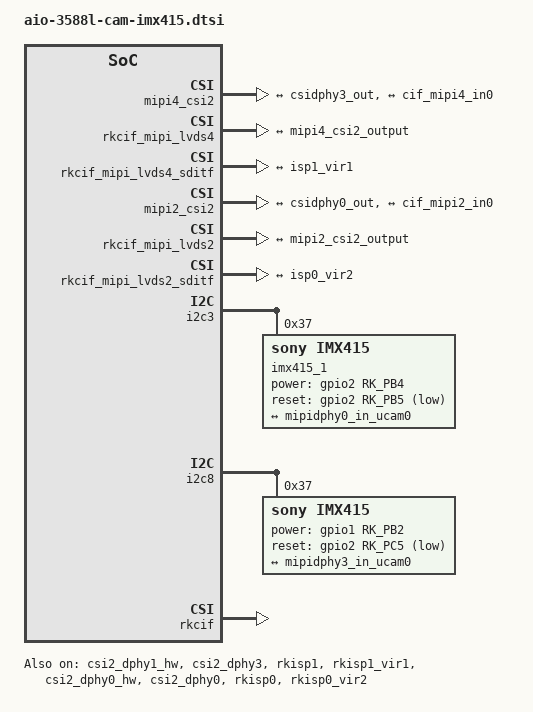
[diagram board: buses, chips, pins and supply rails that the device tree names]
// SPDX-License-Identifier: (GPL-2.0+ OR MIT)
/*
 * Copyright (c) 2021 Rockchip Electronics Co., Ltd.
 *
 */

/ {
	cam_ircut0: cam_ircut {
		status = "disabled";
		compatible = "rockchip,ircut";
		ircut-open-gpios = <&gpio4 RK_PA6 GPIO_ACTIVE_HIGH>;
		ircut-close-gpios  = <&gpio4 RK_PA7 GPIO_ACTIVE_HIGH>;
		rockchip,camera-module-index = <0>;
		rockchip,camera-module-facing = "back";
	};

	vcc_mipidphy0: vcc-mipidcphy0-regulator {
		status = "disabled";
		compatible = "regulator-fixed";
		gpio = <&gpio2 RK_PC4 GPIO_ACTIVE_HIGH>;
		pinctrl-names = "default";
		pinctrl-0 = <&mipidphy0_pwr>;
		regulator-name = "vcc_mipidphy0";
		enable-active-high;
	};
	vcc_mipidphy1: vcc-mipidcphy0-regulator {
		status = "disabled";
		compatible = "regulator-fixed";
		gpio = <&gpio1 RK_PB2 GPIO_ACTIVE_HIGH>;
		pinctrl-names = "default";
		pinctrl-0 = <&mipidphy1_pwr>;
		regulator-name = "vcc_mipidphy1";
		enable-active-high;
	};
};

&csi2_dphy1_hw {
	status = "okay";
};

&csi2_dphy3 {
	status = "okay";
#ifdef FF_COMPATIBLE
		firefly-compatible;
#endif
	ports {
		#address-cells = <1>;
		#size-cells = <0>;
		port@0 {
			reg = <0>;
			#address-cells = <1>;
			#size-cells = <0>;

			mipidphy3_in_ucam0: endpoint@1 {
				reg = <1>;
				remote-endpoint = <&imx415_out0>;
				data-lanes = <1 2 3 4>;
			};
		};
		port@1 {
			reg = <1>;
			#address-cells = <1>;
			#size-cells = <0>;

			csidphy3_out: endpoint@0 {
				reg = <0>;
				remote-endpoint = <&mipi4_csi2_input>;
			};
		};
	};
};

&mipi4_csi2 {
	status = "okay";

#ifdef FF_COMPATIBLE
		firefly-compatible;
#endif
	ports {
		#address-cells = <1>;
		#size-cells = <0>;

		port@0 {
			reg = <0>;
			#address-cells = <1>;
			#size-cells = <0>;

			mipi4_csi2_input: endpoint@1 {
				reg = <1>;
				remote-endpoint = <&csidphy3_out>;
			};
		};

		port@1 {
			reg = <1>;
			#address-cells = <1>;
			#size-cells = <0>;

			mipi4_csi2_output: endpoint@0 {
				reg = <0>;
				remote-endpoint = <&cif_mipi4_in0>;
			};
		};
	};
};

&rkcif_mipi_lvds4 {
        status = "okay";

        port {
                cif_mipi4_in0: endpoint {
                        remote-endpoint = <&mipi4_csi2_output>;
                };
        };
};

&rkcif_mipi_lvds4_sditf {
	status = "okay";

	port {
		mipi_lvds4_sditf: endpoint {
			remote-endpoint = <&isp1_vir1>;
		};
	};
};

&rkisp1 {
	status = "okay";
};

&isp1_mmu {
	status = "okay";
};

&rkisp1_vir1 {
	status = "okay";

	port {
		#address-cells = <1>;
		#size-cells = <0>;

		isp1_vir1: endpoint@0 {
			reg = <0>;
			remote-endpoint = <&mipi_lvds4_sditf>;
		};
	};
};

&csi2_dphy0_hw {
	status = "okay";
}; 

&csi2_dphy0 {
	status = "okay";

#ifdef FF_COMPATIBLE
		firefly-compatible;
#endif
	ports {
		#address-cells = <1>;
		#size-cells = <0>;
		port@0 {
			reg = <0>;
			#address-cells = <1>;
			#size-cells = <0>;

			mipidphy0_in_ucam0: endpoint@1 {
				reg = <1>;
				remote-endpoint = <&imx415_out1>;
				data-lanes = <1 2 3 4>;
			};
		};
		port@1 {
			reg = <1>;
			#address-cells = <1>;
			#size-cells = <0>;

			csidphy0_out: endpoint@0 {
				reg = <0>;
				remote-endpoint = <&mipi2_csi2_input>;
			};
		};
	};
};

&mipi2_csi2 {
        status = "okay";

#ifdef FF_COMPATIBLE
		firefly-compatible;
#endif
        ports {
                #address-cells = <1>;
                #size-cells = <0>;

                port@0 {
                        reg = <0>;
                        #address-cells = <1>;
                        #size-cells = <0>;

                        mipi2_csi2_input: endpoint@1 {
                                reg = <1>;
                                remote-endpoint = <&csidphy0_out>;
                        };
                };

                port@1 {
                        reg = <1>;
                        #address-cells = <1>;
                        #size-cells = <0>;

                        mipi2_csi2_output: endpoint@0 {
                                reg = <0>;
                                remote-endpoint = <&cif_mipi2_in0>;
                        };
                };
        };
};

&rkcif_mipi_lvds2 {
        status = "okay";

        port {
                cif_mipi2_in0: endpoint {
                        remote-endpoint = <&mipi2_csi2_output>;
                };
        };
};

&rkcif_mipi_lvds2_sditf {
	status = "okay";

	port {
		mipi_lvds2_sditf: endpoint {
			remote-endpoint = <&isp0_vir2>;
		};
	};
};

&rkisp0 {
	status = "okay";
};

&isp0_mmu {
	status = "okay";
};

&rkisp0_vir2 {
	status = "okay";

	port {
		#address-cells = <1>;
		#size-cells = <0>;

		isp0_vir2: endpoint@0 {
			reg = <0>;
			remote-endpoint = <&mipi_lvds2_sditf>;
		};
	};
};

&i2c3 {
        status = "okay";
        pinctrl-names = "default";
	pinctrl-0 = <&i2c3m0_xfer>;
	
	imx415_1: imx415-1@37{
               compatible = "sony,imx415";
               reg = <0x37>;
               clocks = <&cru CLK_MIPI_CAMARAOUT_M1>;
               clock-names = "xvclk";
               pinctrl-names = "default";
               pinctrl-0 = <&mipim0_camera1_clk>;
               power-domains = <&power RK3588_PD_VI>;
               
               power-gpios = <&gpio2 RK_PB4 GPIO_ACTIVE_HIGH>;
               reset-gpios = <&gpio2 RK_PB5 GPIO_ACTIVE_LOW>;
               //pwdn-gpios = <&gpio2 RK_PB4 GPIO_ACTIVE_HIGH>;

	       #define FF_COMPATIBLE
               //avdd-supply = <&vcc_mipidcphy0>;
               firefly,clkout-enabled-index = <0>;
               rockchip,camera-module-index = <1>;
               rockchip,camera-module-facing = "back";
               rockchip,camera-module-name = "CMK-OT2022-PX1";
               rockchip,camera-module-lens-name = "IR0147-50IRC-8M-F20";
               port {
                        imx415_out1: endpoint {
                               remote-endpoint = <&mipidphy0_in_ucam0>;
                               data-lanes = <1 2 3 4>;
                       };
               };
       };

};

&i2c8 {
        status = "okay";
        pinctrl-names = "default";
	pinctrl-0 = <&i2c8m4_xfer>;
 
        imx415: imx415@37{
               compatible = "sony,imx415";
               reg = <0x37>;
               clocks = <&cru CLK_MIPI_CAMARAOUT_M3>;
               clock-names = "xvclk";
               pinctrl-names = "default";
               pinctrl-0 = <&mipim0_camera3_clk>;
               power-domains = <&power RK3588_PD_VI>;
               
	       power-gpios = <&gpio1 RK_PB2 GPIO_ACTIVE_HIGH>;
               reset-gpios = <&gpio2 RK_PC5 GPIO_ACTIVE_LOW>;
               //pwdn-gpios = <&gpio1 RK_PB5 GPIO_ACTIVE_HIGH>;

	       #define FF_COMPATIBLE
               //avdd-supply = <&vcc_mipidcphy0>;
               firefly,clkout-enabled-index = <0>;
               rockchip,camera-module-index = <0>;
               rockchip,camera-module-facing = "back";
               rockchip,camera-module-name = "CMK-OT2022-PX1";
               rockchip,camera-module-lens-name = "IR0147-50IRC-8M-F20";
               port {
                        imx415_out0: endpoint {
                               remote-endpoint = <&mipidphy3_in_ucam0>;
                               data-lanes = <1 2 3 4>;
                       };
               };
       };

};


&pinctrl {
	cam {
		mipidphy0_pwr: mipidphy0-pwr {
			rockchip,pins =
				/* camera power en */
				<2 RK_PC4 RK_FUNC_GPIO &pcfg_pull_none>;
		};
	};
	cam {
		mipidphy1_pwr: mipidphy1-pwr {
			rockchip,pins =
				/* camera power en */
				<1 RK_PB2 RK_FUNC_GPIO &pcfg_pull_none>;
		};
	};
};

&rkcif {
	status = "okay";
//	memory-region = <&cif_reserved>;
};

&rkcif_mmu {
	status = "okay";
};
